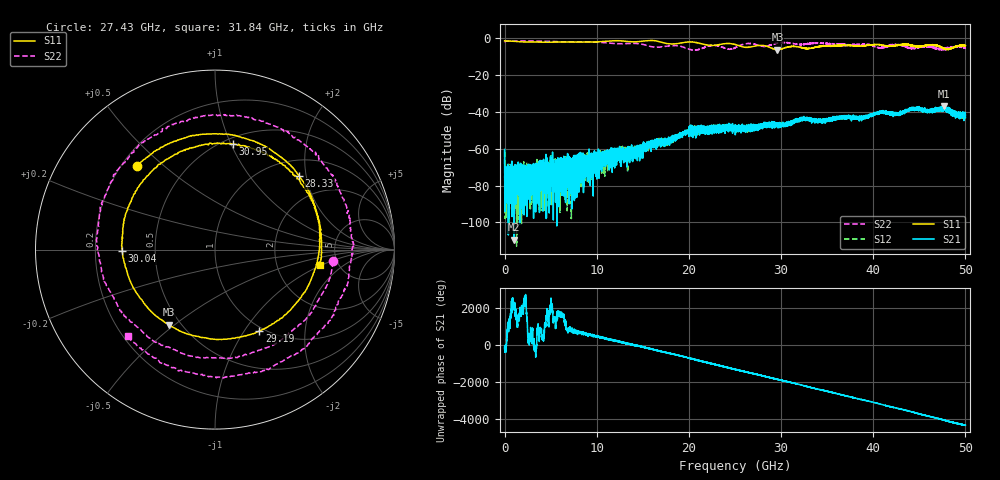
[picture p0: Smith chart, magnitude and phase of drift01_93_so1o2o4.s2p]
!Created with skrf (http://scikit-rf.org).
# Hz S RI R 50.0
!freq ReS11 ImS11 ReS21 ImS21 ReS12 ImS12 ReS22 ImS22
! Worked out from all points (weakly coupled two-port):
!   10001 points, 300 kHz to 50 GHz, reference 50 ohm
!   highest |S21| = -36.66 dB at 47.68 GHz (marker M1); lowest = -109.4 dB at 1.03 GHz (marker M2)
!   lowest |S11| = -6.2 dB at 29.61 GHz (marker M3), VSWR 2.92, Z = 21.7 - j23.8 ohm
!   |S11| at or under -10 dB: nowhere
!   |S22| runs from -6.6 to -1.4 dB; largest |S21 - S12| = 0.0039
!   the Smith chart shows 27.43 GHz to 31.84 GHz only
!   S11 on the Smith chart (normalised r, x): 27.43 GHz: 0.26, +0.41; 28.33 GHz: 1.35, +1.82; 29.19 GHz: 0.95, -1.18; 30.04 GHz: 0.32, -0.01; 30.95 GHz: 0.56, +1.02; 31.84 GHz: 3.62, -0.95
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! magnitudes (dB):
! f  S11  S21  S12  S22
! 300 kHz  -1.3  -60.3  -61.3  -2.1
! 265.3 MHz  -1.4  -89.4  -81.5  -1.4
! 1.03 GHz  -1.6  -109.4  -101.0  -1.5
! 3.925 GHz  -2.0  -66.3  -77.0  -1.5
! 5.435 GHz  -2.0  -68.4  -71.8  -1.7
! 8.335 GHz  -2.0  -69.9  -71.7  -1.8
! 16.67 GHz  -1.6  -56.6  -58.1  -4.8
! 18.62 GHz  -2.9  -55.1  -53.8  -3.9
! 20.3 GHz  -1.9  -48.8  -51.7  -6.1
! 22.61 GHz  -3.8  -48.5  -50.2  -3.8
! 25 GHz  -3.3  -49.3  -49.7  -5.1
! 27.43 GHz  -3.9  -48.7  -48.3  -3.6
! 28.33 GHz  -4.1  -48.4  -47.6  -4.2
! 29.19 GHz  -5.7  -46.7  -47.5  -3.1
! 29.61 GHz  -6.2  -47.1  -46.6  -2.5
! 30.04 GHz  -5.7  -47.6  -47.1  -2.3
! 30.95 GHz  -4.5  -46.6  -45.9  -2.5
! 31.84 GHz  -4.6  -44.6  -44.2  -3.3
! 33.34 GHz  -5.2  -44.8  -44.2  -2.7
! 41.67 GHz  -4.2  -40.5  -40.5  -4.3
! 47.68 GHz  -5.5  -36.7  -38.0  -6.2
! 50 GHz  -3.9  -43.0  -42.1  -5.4
